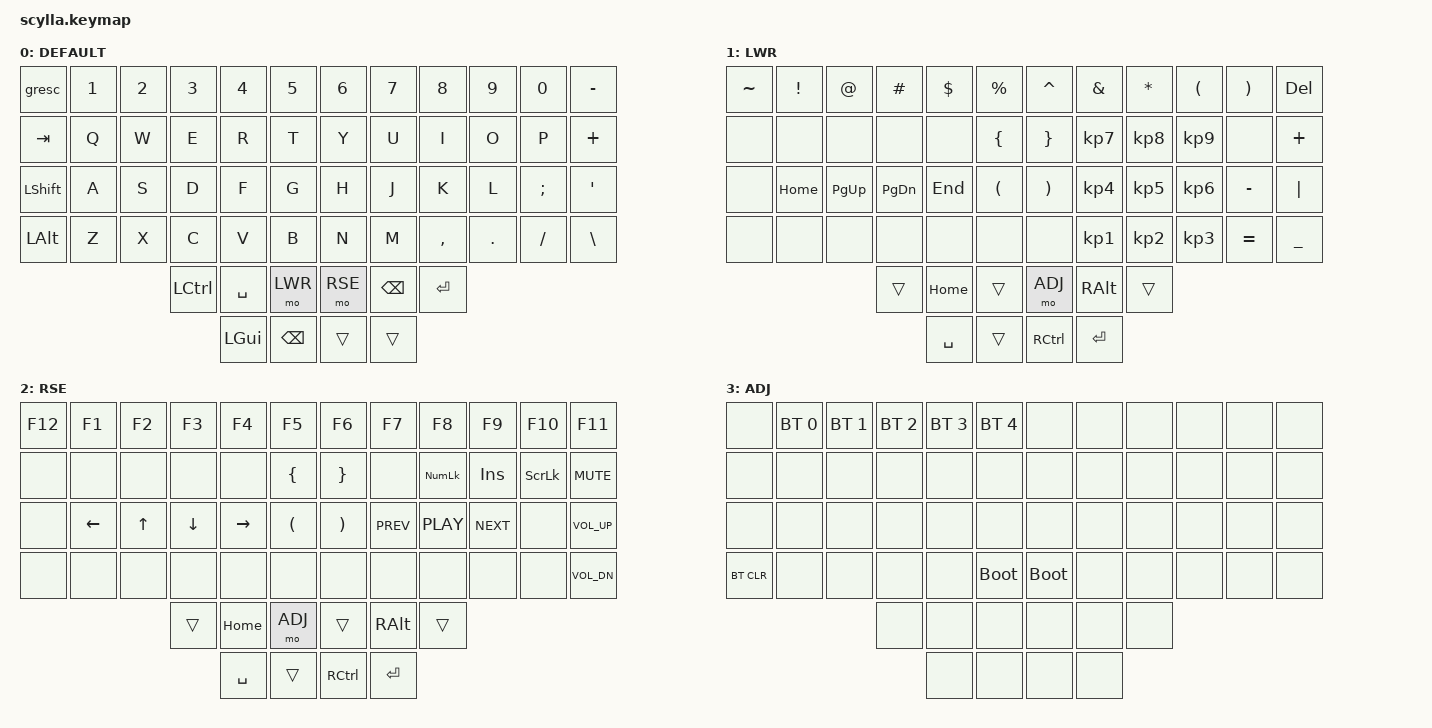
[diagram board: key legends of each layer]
#include <behaviors.dtsi>
#include <dt-bindings/zmk/bt.h>
#include <dt-bindings/zmk/keys.h>

#define DEFAULT 0
#define LWR 1
#define RSE 2
#define ADJ 3

/ {
    keymap {
        compatible = "zmk,keymap";

        DEFAULT {
            bindings = <
&gresc        &kp N1  &kp N2  &kp N3     &kp N4        &kp N5           &kp N6   &kp N7         &kp N8     &kp N9   &kp N0    &kp MINUS
&kp TAB       &kp Q   &kp W   &kp E      &kp R         &kp T            &kp Y    &kp U          &kp I      &kp O    &kp P     &kp PLUS
&kp LSHIFT    &kp A   &kp S   &kp D      &kp F         &kp G            &kp H    &kp J          &kp K      &kp L    &kp SEMI  &kp SQT
&kp LEFT_ALT  &kp Z   &kp X   &kp C      &kp V         &kp B            &kp N    &kp M          &kp COMMA  &kp DOT  &kp FSLH  &kp BSLH
                              &kp LCTRL  &kp SPACE     &mo LWR          &mo RSE  &kp BACKSPACE  &kp ENTER
                                         &kp LEFT_GUI  &kp BACKSPACE    &trans   &trans
            >;
        };

        LWR {
            bindings = <
&kp TILDE  &kp EXCL  &kp AT     &kp HASH   &kp DLLR   &kp PRCNT    &kp CARET  &kp AMPS   &kp ASTRK  &kp LPAR   &kp RPAR   &kp DEL
&none      &none     &none      &none      &none      &kp LBRC     &kp RBRC   &kp KP_N7  &kp KP_N8  &kp KP_N9  &none      &kp PLUS
&none      &kp HOME  &kp PG_UP  &kp PG_DN  &kp END    &kp LPAR     &kp RPAR   &kp KP_N4  &kp KP_N5  &kp KP_N6  &kp MINUS  &kp PIPE
&none      &none     &none      &none      &none      &none        &none      &kp KP_N1  &kp KP_N2  &kp KP_N3  &kp EQUAL  &kp UNDER
                                &trans     &kp HOME   &trans       &mo ADJ    &kp RALT   &trans
                                           &kp SPACE  &trans       &kp RCTRL  &kp RET
            >;
        };

        RSE {
            bindings = <
&kp F12  &kp F1    &kp F2  &kp F3    &kp F4     &kp F5      &kp F6     &kp F7      &kp F8      &kp F9      &kp F10   &kp F11
&none    &none     &none   &none     &none      &kp LBRC    &kp RBRC   &none       &kp KP_NUM  &kp INS     &kp SLCK  &kp C_MUTE
&none    &kp LEFT  &kp UP  &kp DOWN  &kp RIGHT  &kp LPAR    &kp RPAR   &kp C_PREV  &kp C_PLAY  &kp C_NEXT  &none     &kp C_VOL_UP
&none    &none     &none   &none     &none      &none       &none      &none       &none       &none       &none     &kp C_VOL_DN
                           &trans    &kp HOME   &mo ADJ     &trans     &kp RALT    &trans
                                     &kp SPACE  &trans      &kp RCTRL  &kp RET
            >;
        };

        ADJ {
            bindings = <
&none       &bt BT_SEL 0  &bt BT_SEL 1  &bt BT_SEL 2  &bt BT_SEL 3  &bt BT_SEL 4    &none        &none  &none  &none  &none  &none
&none       &none         &none         &none         &none         &none           &none        &none  &none  &none  &none  &none
&none       &none         &none         &none         &none         &none           &none        &none  &none  &none  &none  &none
&bt BT_CLR  &none         &none         &none         &none         &bootloader     &bootloader  &none  &none  &none  &none  &none
                                        &none         &none         &none           &none        &none  &none
                                                      &none         &none           &none        &none
            >;
        };
    };
};
